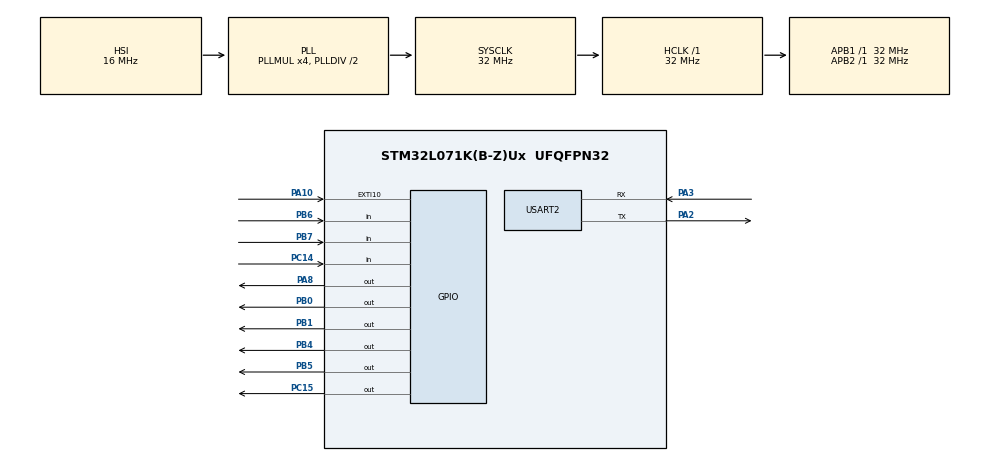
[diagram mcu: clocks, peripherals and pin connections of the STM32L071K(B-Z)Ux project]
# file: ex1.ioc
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Dma.MEMTOMEM.0.Direction=DMA_MEMORY_TO_MEMORY
Dma.MEMTOMEM.0.Instance=DMA1_Channel1
Dma.MEMTOMEM.0.MemDataAlignment=DMA_MDATAALIGN_BYTE
Dma.MEMTOMEM.0.MemInc=DMA_MINC_ENABLE
Dma.MEMTOMEM.0.Mode=DMA_NORMAL
Dma.MEMTOMEM.0.PeriphDataAlignment=DMA_PDATAALIGN_BYTE
Dma.MEMTOMEM.0.PeriphInc=DMA_PINC_ENABLE
Dma.MEMTOMEM.0.Priority=DMA_PRIORITY_LOW
Dma.Request0=MEMTOMEM
Dma.Request1=USART2_RX
Dma.USART2_RX.1.Direction=DMA_PERIPH_TO_MEMORY
Dma.USART2_RX.1.Instance=DMA1_Channel5
Dma.USART2_RX.1.MemDataAlignment=DMA_MDATAALIGN_BYTE
Dma.USART2_RX.1.MemInc=DMA_MINC_ENABLE
Dma.USART2_RX.1.Mode=DMA_CIRCULAR
Dma.USART2_RX.1.PeriphDataAlignment=DMA_PDATAALIGN_BYTE
Dma.USART2_RX.1.PeriphInc=DMA_PINC_DISABLE
Dma.USART2_RX.1.Priority=DMA_PRIORITY_LOW
Mcu.Family=STM32L0
Mcu.Name=STM32L071K(B-Z)Ux
Mcu.Package=UFQFPN32
NVIC.DMA1_Channel1_IRQn=true\:0\:0\:false\:false\:true\:true\:true
NVIC.DMA1_Channel4_5_6_7_IRQn=true\:0\:0\:false\:false\:true\:false\:true
NVIC.EXTI4_15_IRQn=true\:0\:0\:false\:false\:true\:true\:true
NVIC.TIM6_IRQn=true\:0\:0\:false\:false\:true\:true\:true
NVIC.TIM7_IRQn=true\:0\:0\:false\:false\:true\:true\:true
NVIC.USART2_IRQn=true\:0\:0\:false\:false\:true\:true\:true
PA10.Signal=GPXTI10
PA13.Mode=Serial_Wire
PA13.Signal=SYS_SWDIO
PA14.Mode=Serial_Wire
PA14.Signal=SYS_SWCLK
PA2.Mode=Asynchronous
PA2.Signal=USART2_TX
PA3.Mode=Asynchronous
PA3.Signal=USART2_RX
PA8.Signal=GPIO_Output
PB0.Signal=GPIO_Output
PB1.Signal=GPIO_Output
PB4.Signal=GPIO_Output
PB5.Signal=GPIO_Output
PB6.Signal=GPIO_Input
PB7.Signal=GPIO_Input
PC14-OSC32_IN.Signal=GPIO_Input
PC15-OSC32_OUT.Signal=GPIO_Output
ProjectManager.HeapSize=0x200
ProjectManager.StackSize=0x400
ProjectManager.TargetToolchain=MDK-ARM V5
RCC.AHBFreq_Value=32000000
RCC.APB1Freq_Value=32000000
RCC.APB1TimFreq_Value=32000000
RCC.APB2Freq_Value=32000000
RCC.APB2TimFreq_Value=32000000
RCC.HCLKFreq_Value=32000000
RCC.HSI16_VALUE=16000000
RCC.HSI_VALUE=16000000
RCC.LSE_VALUE=32768
RCC.MSI_VALUE=2097000
RCC.PLLMUL=RCC_PLLMUL_4
RCC.SYSCLKFreq_VALUE=32000000
RCC.SYSCLKSource=RCC_SYSCLKSOURCE_PLLCLK
RCC.VCOOutputFreq_Value=64000000
RTC.Format=RTC_FORMAT_BIN
RTC.SynchPrediv=307
TIM6.Period=999
TIM6.Prescaler=31
TIM7.Period=999
TIM7.Prescaler=32
USART2.VirtualMode-Asynchronous=VM_ASYNC
VP_CRC_VS_CRC.Mode=CRC_Activate
VP_RTC_VS_RTC_Activate.Mode=RTC_Enabled
VP_RTC_VS_RTC_Calendar.Mode=RTC_Calendar
VP_TIM6_VS_ClockSourceINT.Mode=Enable_Timer
VP_TIM7_VS_ClockSourceINT.Mode=Enable_Timer
board=custom

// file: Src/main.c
/* USER CODE BEGIN Header */
/**
  ******************************************************************************
  * @file           : main.c
  * @brief          : Main program body
  ******************************************************************************
  * @attention
  *
  * <h2><center>&copy; Copyright (c) 2019 STMicroelectronics.
  * All rights reserved.</center></h2>
  *
  * This software component is licensed by ST under BSD 3-Clause license,
  * the "License"; You may not use this file except in compliance with the
  * License. You may obtain a copy of the License at:
  *                        opensource.org/licenses/BSD-3-Clause
  *
  ******************************************************************************
  */
/* USER CODE END Header */

#include "main.h"
#include "crc.h"
#include "dma.h"
#include "rtc.h"
#include "tim.h"
#include "usart.h"
#include "gpio.h"

/* USER CODE BEGIN Includes */
#include "stm32l0xx_hal.h"
#include "zm4xx_gpio.h"
#include "spi.h"
#include "timer.h"
#include "stddef.h"
#include "sx127x_lora.h"
#include "key.h"
/* USER CODE END Includes */

/* USER CODE BEGIN PTD */
#define FREQ  (433000000)
void SystemClock_Config(void);
void Hardware_Init(void);
radio_handle_t  handle;
int ret = RADIO_RET_OK;

    uint16_t len = 0;
		uint8_t rx = 0;
		uint8_t tx = 0x55;
		uint8_t cntr = 0;
	unsigned int time_i=0,time_10ms=1,time_100ms=1,time_800ms=1,time_1s=1;
	unsigned int lora_flag=0;
	unsigned int oled_x1=0,oled_x2=0;
	char lcdLine_1st_line[16]="123";
  char lcdLine_2st_line[16]="123";
/* USER CODE END PTD */

void SystemClock_Config(void);

/* USER CODE BEGIN 0 */
void Task_BrdInit(void)
{
    HAL_GPIO_WritePin(GPIOC, GPIO_PIN_15, GPIO_PIN_SET);

    OLED_PowerControl(ENABLE);

    HAL_Delay(200);
    OLED_Init();
    OLED_Clear();

    OLED_ShowString(0, 0, (unsigned char *)"                ", 16);
    OLED_ShowString(0, 2, (unsigned char *)"                ", 16);
}
void LoRa_Init(void)
{

	handle = radio_zm4xx_inst_init(spi_recv_byte,spi_send_byte,zm4xx_rst_pin_set,zm4xx_sel_pin_set,delay_ms,delay_us);

	if(handle != NULL){
		if(RADIO_RET_OK == radio_freq_set(handle, FREQ)){
				HAL_GPIO_WritePin(GPIOC, GPIO_PIN_15,GPIO_PIN_RESET);
		}

		radio_mode_set(handle, RX_MODE);	//Receive Mode
	}
}
void key(void);
/* USER CODE END 0 */

int main(void)
{

  /* MCU Configuration--------------------------------------------------------*/

  /* Reset of all peripherals, Initializes the Flash interface and the Systick. */
  HAL_Init();

  /* Configure the system clock */
  SystemClock_Config();

  /* Initialize all configured peripherals */
  MX_GPIO_Init();
  MX_DMA_Init();
  MX_CRC_Init();
  MX_USART2_UART_Init();
  MX_RTC_Init();
  MX_TIM6_Init();
  MX_TIM7_Init();
  /* USER CODE BEGIN 2 */
    Task_BrdInit();
		zm4xx_pin_init(); //LORA��Ҫ
    spi_init();//LORA��Ҫ
		LoRa_Init();
		HAL_TIM_Base_Start_IT(&htim6);
		HAL_TIM_Base_Start_IT(&htim7);
  /* USER CODE END 2 */

  /* Infinite loop */
    while (1)
    {

    /* USER CODE BEGIN 3 */
			if(time_10ms==1)
			{
				key_scan();
				time_10ms=0;
			}
			key();
			if(time_800ms==1)
			{
				HAL_RTC_GetTime(&hrtc, &sTime, RTC_FORMAT_BIN);
				HAL_RTC_GetDate(&hrtc, &sDate, RTC_FORMAT_BIN);
				time_800ms=0;
			}
			if(time_100ms==1)
			{
				OLED_ShowString(oled_x1, 0, (unsigned char *)lcdLine_1st_line, 16);
				OLED_ShowString(oled_x2, 2, (unsigned char *)lcdLine_2st_line, 16);
				time_100ms=0;
			}
			radio_buf_send(handle, (unsigned char *)lcdLine_2st_line, strlen(lcdLine_2st_line));
    }
  /* USER CODE END 3 */
}
/* USER CODE BEGIN 4 */
void key()
{
	static unsigned int key_11=1,key_12=0,hour=0,min=0,sec=0;
	if(key_11==1)
	{
		sprintf(lcdLine_1st_line, "RTC");
		sprintf(lcdLine_2st_line, "%2d-%2d-%2d",sTime.Hours,sTime.Minutes,sTime.Seconds);
		oled_x1=56;
		oled_x2=32;
		if(time_1s==1)
		{
			HAL_GPIO_TogglePin(GPIOC, GPIO_PIN_15);
			time_1s=0;
		}
	}
	if(key_11==0)
	{
		sTime.Hours=hour;
		sTime.Minutes=min;
		sTime.Seconds=sec;
		HAL_RTC_SetTime(&hrtc, &sTime, RTC_FORMAT_BIN);
		sprintf(lcdLine_1st_line, "SET");
		sprintf(lcdLine_2st_line, "%2d-%2d-%2d",hour,min,sec);
		oled_x1=56;
		oled_x2=32;
	}
	if(key_flag!=0)
	{
		if(key_flag==11)
		{
			key_11=!key_11;
//			HAL_GPIO_WritePin(GPIOC, GPIO_PIN_15, GPIO_PIN_SET);
		}
		if(key_flag==12)
		{
			if(key_11==0)
			{
				key_12++;
				if(key_12==3)	key_12=0;
				HAL_GPIO_TogglePin(GPIOC, GPIO_PIN_15);
			}
		}
		if(key_flag==21)
		{
			switch (key_12)
			{
				case 0:
				{
					hour++;
					if(hour==24)	hour=0;
				}break;
				case 1:
				{
					min++;
					if(min==60)		min=0;
				}break;
				case 2:
				{
					sec++;
					if(sec==60)		sec=0;
				}break;
			}
		}
		if(key_flag==22)
		{
			radio_buf_send(handle, (unsigned char *)lcdLine_2st_line, strlen(lcdLine_2st_line));
		}
		key_flag=0;
	}
}
void HAL_TIM_PeriodElapsedCallback(TIM_HandleTypeDef *htim)
{
	if(htim->Instance==TIM6)
	{
		time_i++;
		if(time_i==9999)		time_i=0;
		if(time_i%10==0)			time_10ms=!time_10ms;
		if(time_i%101==0)		time_100ms=!time_100ms;
		if(time_i%801==0)		time_800ms=!time_800ms;
		if(time_i%1000==0)	time_1s=!time_1s;
	}
}
/* USER CODE END 4 */
void SystemClock_Config(void)
{
  RCC_OscInitTypeDef RCC_OscInitStruct = {0};
  RCC_ClkInitTypeDef RCC_ClkInitStruct = {0};
  RCC_PeriphCLKInitTypeDef PeriphClkInit = {0};

  /** Configure the main internal regulator output voltage
  */
  __HAL_PWR_VOLTAGESCALING_CONFIG(PWR_REGULATOR_VOLTAGE_SCALE1);
  /** Initializes the CPU, AHB and APB busses clocks
  */
  RCC_OscInitStruct.OscillatorType = RCC_OSCILLATORTYPE_HSI|RCC_OSCILLATORTYPE_LSI;
  RCC_OscInitStruct.HSIState = RCC_HSI_ON;
  RCC_OscInitStruct.HSICalibrationValue = RCC_HSICALIBRATION_DEFAULT;
  RCC_OscInitStruct.LSIState = RCC_LSI_ON;
  RCC_OscInitStruct.PLL.PLLState = RCC_PLL_ON;
  RCC_OscInitStruct.PLL.PLLSource = RCC_PLLSOURCE_HSI;
  RCC_OscInitStruct.PLL.PLLMUL = RCC_PLLMUL_4;
  RCC_OscInitStruct.PLL.PLLDIV = RCC_PLLDIV_2;
  if (HAL_RCC_OscConfig(&RCC_OscInitStruct) != HAL_OK)
  {
    Error_Handler();
  }
  /** Initializes the CPU, AHB and APB busses clocks
  */
  RCC_ClkInitStruct.ClockType = RCC_CLOCKTYPE_HCLK|RCC_CLOCKTYPE_SYSCLK
                              |RCC_CLOCKTYPE_PCLK1|RCC_CLOCKTYPE_PCLK2;
  RCC_ClkInitStruct.SYSCLKSource = RCC_SYSCLKSOURCE_PLLCLK;
  RCC_ClkInitStruct.AHBCLKDivider = RCC_SYSCLK_DIV1;
  RCC_ClkInitStruct.APB1CLKDivider = RCC_HCLK_DIV1;
  RCC_ClkInitStruct.APB2CLKDivider = RCC_HCLK_DIV1;

  if (HAL_RCC_ClockConfig(&RCC_ClkInitStruct, FLASH_LATENCY_1) != HAL_OK)
  {
    Error_Handler();
  }
  PeriphClkInit.PeriphClockSelection = RCC_PERIPHCLK_USART2|RCC_PERIPHCLK_RTC;
  PeriphClkInit.Usart2ClockSelection = RCC_USART2CLKSOURCE_PCLK1;
  PeriphClkInit.RTCClockSelection = RCC_RTCCLKSOURCE_LSI;
  if (HAL_RCCEx_PeriphCLKConfig(&PeriphClkInit) != HAL_OK)
  {
    Error_Handler();
  }
}

void Error_Handler(void)
{
}

/************************ (C) COPYRIGHT STMicroelectronics *****END OF FILE****/
